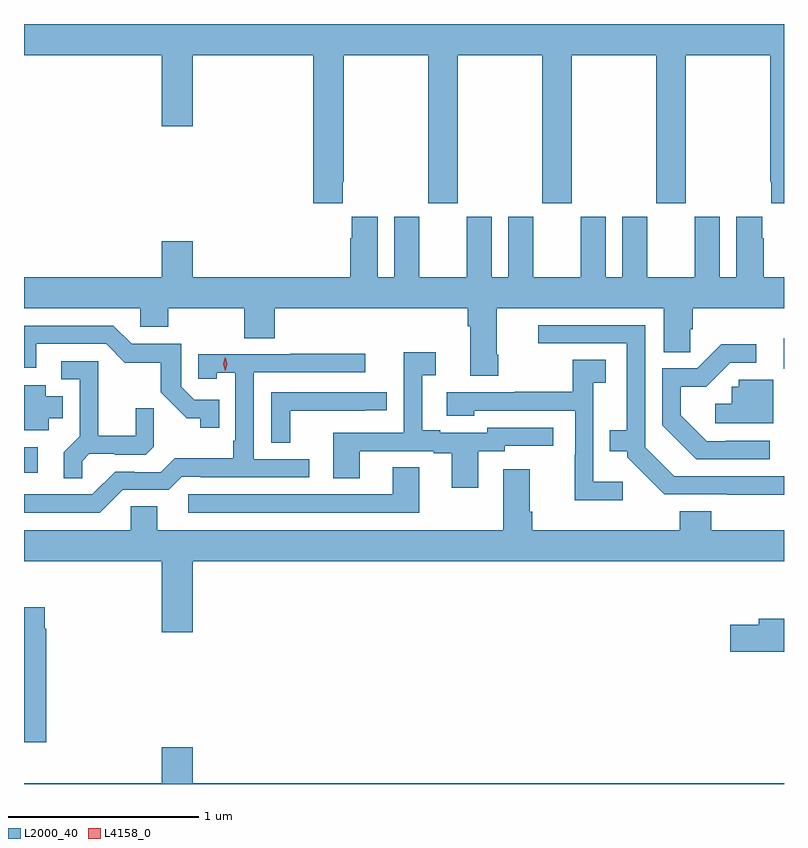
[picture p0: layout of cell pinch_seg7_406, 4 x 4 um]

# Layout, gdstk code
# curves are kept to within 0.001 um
import gdstk
lib = gdstk.Library(unit=1e-6, precision=1e-09)
def R(c, l, rs):  # rectangles x0, y0, x1, y1
    for r in rs: c.add(gdstk.rectangle(r[:2], r[2:], *l))
def P(c, l, *ps):  # polygons
    for p in ps: c.add(gdstk.Polygon(p, *l))
L2000_40 = (2000, 40)
L4158_0 = (4158, 0)

pinch_seg7_406 = lib.new_cell('pinch_seg7_406')
R(pinch_seg7_406, L2000_40, [(535.911,1021.061,535.984,1021.197), (539.909,1021.61,539.911,1021.771)])
P(pinch_seg7_406, L2000_40, [(537.589,1022.593),(537.594,1022.593),(537.594,1023.26),(538.039,1023.26),(538.039,1022.481),(538.194,1022.481),(538.194,1023.26),(538.639,1023.26),(538.639,1022.481),(538.794,1022.481),(538.794,1023.26),(539.239,1023.26),(539.239,1022.481),(539.394,1022.481),(539.394,1023.26),(539.839,1023.26),(539.839,1022.593),(539.843,1022.593),(539.843,1022.481),(539.911,1022.481),(539.911,1023.424),(535.911,1023.424),(535.911,1023.26),(536.636,1023.26),(536.636,1022.886),(536.8,1022.886),(536.8,1023.26),(537.434,1023.26),(537.434,1022.481),(537.589,1022.481)],
  [(538.407,1021.684),(538.399,1021.684),(538.399,1021.928),(539.279,1021.928),(539.279,1021.696),(539.417,1021.696),(539.417,1021.818),(539.432,1021.818),(539.432,1021.928),(539.911,1021.928),(539.911,1022.092),(539.804,1022.092),(539.804,1022.297),(539.797,1022.297),(539.797,1022.41),(539.66,1022.41),(539.66,1022.092),(539.572,1022.092),(539.572,1022.41),(539.441,1022.41),(539.441,1022.092),(539.191,1022.092),(539.191,1022.41),(539.06,1022.41),(539.06,1022.092),(538.972,1022.092),(538.972,1022.41),(538.841,1022.41),(538.841,1022.092),(538.591,1022.092),(538.591,1022.41),(538.46,1022.41),(538.46,1022.092),(538.372,1022.092),(538.372,1022.41),(538.241,1022.41),(538.241,1022.092),(537.991,1022.092),(537.991,1022.41),(537.86,1022.41),(537.86,1022.092),(537.772,1022.092),(537.772,1022.41),(537.635,1022.41),(537.635,1022.297),(537.629,1022.297),(537.629,1022.092),(536.8,1022.092),(536.8,1022.281),(536.636,1022.281),(536.636,1022.092),(535.911,1022.092),(535.911,1021.928),(536.523,1021.928),(536.523,1021.83),(536.67,1021.83),(536.67,1021.928),(537.07,1021.928),(537.07,1021.771),(537.23,1021.771),(537.23,1021.928),(538.247,1021.928),(538.247,1021.832),(538.259,1021.832),(538.259,1021.572),(538.407,1021.572)],
  [(539.911,1021.044),(539.334,1021.044),(539.181,1021.197),(539.181,1021.839),(538.617,1021.839),(538.617,1021.743),(539.084,1021.743),(539.084,1021.285),(538.993,1021.285),(538.993,1021.175),(539.085,1021.175),(539.085,1021.143),(539.28,1020.948),(539.911,1020.947)],
  [(536.939,1021.446),(536.808,1021.446),(536.739,1021.515),(536.739,1021.74),(536.478,1021.74),(536.382,1021.836),(535.911,1021.836),(535.911,1021.614),(535.975,1021.614),(535.975,1021.74),(536.343,1021.74),(536.442,1021.642),(536.631,1021.642),(536.631,1021.486),(536.768,1021.349),(536.838,1021.349),(536.838,1021.299),(536.939,1021.299)],
  [(539.836,1021.23),(539.605,1021.23),(539.605,1021.227),(539.505,1021.227),(539.368,1021.364),(539.368,1021.514),(539.501,1021.514),(539.628,1021.641),(539.764,1021.641),(539.764,1021.739),(539.582,1021.739),(539.454,1021.611),(539.271,1021.611),(539.271,1021.313),(539.45,1021.134),(539.836,1021.134)],
  [(538.303,1021.176),(538.44,1021.176),(538.44,1021.203),(538.696,1021.203),(538.696,1021.299),(538.35,1021.299),(538.35,1021.272),(538.102,1021.272),(538.102,1021.285),(538.006,1021.285),(538.006,1021.576),(538.078,1021.576),(538.078,1021.696),(537.909,1021.696),(537.909,1021.272),(537.539,1021.272),(537.539,1021.033),(537.679,1021.033),(537.679,1021.176),(538.067,1021.176),(538.067,1021.164),(538.163,1021.164),(538.163,1020.984),(538.303,1020.984)],
  [(536.43,1020.972),(536.673,1020.972),(536.742,1021.041),(536.842,1021.041),(536.842,1021.038),(537.412,1021.038),(537.412,1021.134),(537.12,1021.134),(537.12,1021.59),(537.706,1021.59),(537.706,1021.689),(537.313,1021.689),(537.313,1021.686),(536.829,1021.686),(536.829,1021.557),(536.925,1021.557),(536.925,1021.589),(537.024,1021.589),(537.024,1021.231),(537.012,1021.231),(537.012,1021.138),(536.704,1021.138),(536.631,1021.065),(536.492,1021.065),(536.492,1021.068),(536.391,1021.068),(536.271,1020.948),(535.911,1020.948),(535.911,1020.852),(536.31,1020.852)],
  [(539.062,1021.015),(538.908,1021.015),(538.908,1021.537),(538.972,1021.537),(538.972,1021.658),(538.8,1021.658),(538.8,1021.488),(538.495,1021.488),(538.495,1021.485),(538.137,1021.485),(538.137,1021.361),(538.281,1021.361),(538.281,1021.389),(538.812,1021.389),(538.812,1021.157),(538.81,1021.157),(538.81,1020.917),(539.062,1020.917)],
  [(536.217,1021.124),(536.254,1021.161),(536.388,1021.161),(536.388,1021.158),(536.553,1021.158),(536.594,1021.199),(536.594,1021.401),(536.5,1021.401),(536.5,1021.258),(536.303,1021.258),(536.303,1021.65),(536.106,1021.65),(536.106,1021.554),(536.205,1021.554),(536.205,1021.255),(536.119,1021.169),(536.119,1021.033),(536.217,1021.033)],
  [(539.854,1021.551),(539.673,1021.551),(539.673,1021.515),(539.637,1021.515),(539.637,1021.426),(539.55,1021.426),(539.55,1021.323),(539.854,1021.323)],
  [(536.041,1021.349),(536.116,1021.349),(536.116,1021.465),(536.026,1021.465),(536.026,1021.522),(535.911,1021.522),(535.911,1021.286),(536.041,1021.286)],
  [(537.312,1021.389),(537.707,1021.389),(537.707,1021.39),(537.82,1021.39),(537.82,1021.485),(537.213,1021.485),(537.213,1021.219),(537.312,1021.219)],
  [(537.991,1021.091),(537.851,1021.091),(537.851,1020.948),(536.775,1020.948),(536.775,1020.852),(537.991,1020.852)],
  [(539.911,1020.76),(539.528,1020.76),(539.528,1020.859),(539.363,1020.859),(539.363,1020.76),(538.586,1020.76),(538.586,1020.856),(538.573,1020.856),(538.573,1021.081),(538.433,1021.081),(538.433,1020.76),(536.611,1020.76),(536.611,1020.887),(536.472,1020.887),(536.472,1020.76),(535.911,1020.76),(535.911,1020.596),(536.636,1020.596),(536.636,1020.222),(536.8,1020.222),(536.8,1020.596),(539.911,1020.596)],
  [(536.027,1020.242),(536.02,1020.242),(536.02,1020.355),(535.911,1020.355),(535.911,1019.645),(536.027,1019.645)],
  [(539.911,1020.295),(539.777,1020.295),(539.777,1020.261),(539.628,1020.261),(539.628,1020.119),(539.911,1020.119)],
  [(539.911,1019.428),(536.8,1019.428),(536.8,1019.617),(536.636,1019.617),(536.636,1019.428),(535.911,1019.428),(535.911,1019.424),(539.911,1019.424)])
P(pinch_seg7_406, L4158_0, [(536.97,1021.599),(536.97,1021.599),(536.96,1021.635),(536.97,1021.67),(536.97,1021.671),(536.97,1021.67),(536.98,1021.635),(536.97,1021.599)])

lib.write_gds('pinch_seg7_406.gds')
